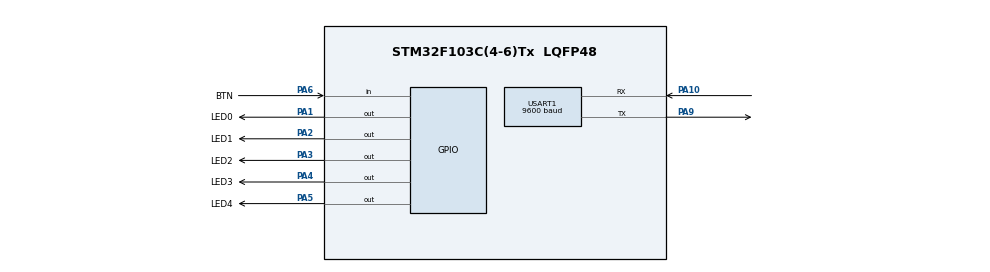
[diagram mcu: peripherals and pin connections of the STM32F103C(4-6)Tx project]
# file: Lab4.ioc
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IWDG.Prescaler=IWDG_PRESCALER_32
IWDG.Reload=63
Mcu.Family=STM32F1
Mcu.Name=STM32F103C(4-6)Tx
Mcu.Package=LQFP48
NVIC.PriorityGroup=NVIC_PRIORITYGROUP_4
NVIC.TIM2_IRQn=true\:0\:0\:false\:false\:true\:true\:true\:true
NVIC.USART1_IRQn=true\:0\:0\:false\:false\:true\:true\:true\:true
PA1.GPIO_Label=LED0
PA1.Signal=GPIO_Output
PA10.Mode=Asynchronous
PA10.Signal=USART1_RX
PA2.GPIO_Label=LED1
PA2.Signal=GPIO_Output
PA3.GPIO_Label=LED2
PA3.Signal=GPIO_Output
PA4.GPIO_Label=LED3
PA4.Signal=GPIO_Output
PA5.GPIO_Label=LED4
PA5.Signal=GPIO_Output
PA6.GPIO_Label=BTN
PA6.GPIO_PuPd=GPIO_PULLUP
PA6.Signal=GPIO_Input
PA9.Mode=Asynchronous
PA9.Signal=USART1_TX
ProjectManager.HeapSize=0x200
ProjectManager.StackSize=0x400
ProjectManager.TargetToolchain=STM32CubeIDE
RCC.APB1Freq_Value=8000000
RCC.APB2Freq_Value=8000000
TIM2.Period=9
TIM2.Prescaler=7999
USART1.BaudRate=9600
USART1.VirtualMode=VM_ASYNC
VP_IWDG_VS_IWDG.Mode=IWDG_Activate
VP_TIM2_VS_ClockSourceINT.Mode=Internal
board=custom

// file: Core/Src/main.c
/* USER CODE BEGIN Header */
/**
  ******************************************************************************
  * @file           : main.c
  * @brief          : Main program body
  ******************************************************************************
  * @attention
  *
  * Copyright (c) 2023 STMicroelectronics.
  * All rights reserved.
  *
  * This software is licensed under terms that can be found in the LICENSE file
  * in the root directory of this software component.
  * If no LICENSE file comes with this software, it is provided AS-IS.
  *
  ******************************************************************************
  */
/* USER CODE END Header */
#include "main.h"

/* USER CODE BEGIN Includes */
#include "stdio.h"
#include "string.h"
#include "scheduler.h"
#include "input_processing.h"
#include "input_reading.h"
/* USER CODE END Includes */

IWDG_HandleTypeDef hiwdg;

TIM_HandleTypeDef htim2;

UART_HandleTypeDef huart1;

/* USER CODE BEGIN PV */
unsigned int timestamp = 0;
char *strError;
char strTimestamp[32];
uint8_t isTaskJustRun = 0;

sTask* deletedTask = NULL;
/* USER CODE END PV */

void SystemClock_Config(void);
static void MX_GPIO_Init(void);
static void MX_TIM2_Init(void);
static void MX_IWDG_Init(void);
static void MX_USART1_UART_Init(void);
/* USER CODE BEGIN PFP */
void Blinking_LED0(void);
void Blinking_LED1(void);
void Blinking_LED2(void);
void Blinking_LED3(void);
void Blinking_LED4(void);
void ReadingAndProcessingInput(void);
void deleteTaskBlinkingLED4(void);
void UART_Report_Status(uint8_t errorCode);
void UART_Report_Timestamp(void);
/* USER CODE END PFP */

int main(void)
{

  /* MCU Configuration--------------------------------------------------------*/

  /* Reset of all peripherals, Initializes the Flash interface and the Systick. */
  HAL_Init();

  /* Configure the system clock */
  SystemClock_Config();

  /* Initialize all configured peripherals */
  MX_GPIO_Init();
  MX_TIM2_Init();
  MX_IWDG_Init();
  MX_USART1_UART_Init();
  /* USER CODE BEGIN 2 */
  HAL_TIM_Base_Start_IT(&htim2);
  SCH_Init();

  Input_Reading_Init();

  //SCH_Add_Task(ReadingAndProcessingInput, 0, 10);
  SCH_Add_Task(Blinking_LED0, 10, 0);
  SCH_Add_Task(Blinking_LED1, 20, 500);
  SCH_Add_Task(Blinking_LED2, 30, 1000);
  SCH_Add_Task(Blinking_LED3, 40, 1500);
  deletedTask = SCH_Add_Task(Blinking_LED4, 50, 1000);

  /* USER CODE END 2 */

  /* Infinite loop */
  /* USER CODE BEGIN WHILE */

  while (1)
  {

	  isTaskJustRun = SCH_Dispatch_Tasks();

	  //Get error code from SCH_Report_Status()
	  //Then give code for UART_Report_Status() to transmit string error.
	  UART_Report_Status(SCH_Report_Status());

	  //Print timestamp when some task ran.
	  UART_Report_Timestamp();

	  //Go to sleep if no task need to run
	  SCH_Sleep();

    /* USER CODE END WHILE */

  }
}

void SystemClock_Config(void)
{
  RCC_OscInitTypeDef RCC_OscInitStruct = {0};
  RCC_ClkInitTypeDef RCC_ClkInitStruct = {0};

  /** Initializes the RCC Oscillators according to the specified parameters
  * in the RCC_OscInitTypeDef structure.
  */
  RCC_OscInitStruct.OscillatorType = RCC_OSCILLATORTYPE_HSI|RCC_OSCILLATORTYPE_LSI;
  RCC_OscInitStruct.HSIState = RCC_HSI_ON;
  RCC_OscInitStruct.HSICalibrationValue = RCC_HSICALIBRATION_DEFAULT;
  RCC_OscInitStruct.LSIState = RCC_LSI_ON;
  RCC_OscInitStruct.PLL.PLLState = RCC_PLL_NONE;
  if (HAL_RCC_OscConfig(&RCC_OscInitStruct) != HAL_OK)
  {
    Error_Handler();
  }

  /** Initializes the CPU, AHB and APB buses clocks
  */
  RCC_ClkInitStruct.ClockType = RCC_CLOCKTYPE_HCLK|RCC_CLOCKTYPE_SYSCLK
                              |RCC_CLOCKTYPE_PCLK1|RCC_CLOCKTYPE_PCLK2;
  RCC_ClkInitStruct.SYSCLKSource = RCC_SYSCLKSOURCE_HSI;
  RCC_ClkInitStruct.AHBCLKDivider = RCC_SYSCLK_DIV1;
  RCC_ClkInitStruct.APB1CLKDivider = RCC_HCLK_DIV1;
  RCC_ClkInitStruct.APB2CLKDivider = RCC_HCLK_DIV1;

  if (HAL_RCC_ClockConfig(&RCC_ClkInitStruct, FLASH_LATENCY_0) != HAL_OK)
  {
    Error_Handler();
  }
}

static void MX_IWDG_Init(void)
{

  hiwdg.Instance = IWDG;
  hiwdg.Init.Prescaler = IWDG_PRESCALER_32;
  hiwdg.Init.Reload = 63;
  if (HAL_IWDG_Init(&hiwdg) != HAL_OK)
  {
    Error_Handler();
  }

}

static void MX_TIM2_Init(void)
{

  TIM_ClockConfigTypeDef sClockSourceConfig = {0};
  TIM_MasterConfigTypeDef sMasterConfig = {0};

  htim2.Instance = TIM2;
  htim2.Init.Prescaler = 7999;
  htim2.Init.CounterMode = TIM_COUNTERMODE_UP;
  htim2.Init.Period = 9;
  htim2.Init.ClockDivision = TIM_CLOCKDIVISION_DIV1;
  htim2.Init.AutoReloadPreload = TIM_AUTORELOAD_PRELOAD_DISABLE;
  if (HAL_TIM_Base_Init(&htim2) != HAL_OK)
  {
    Error_Handler();
  }
  sClockSourceConfig.ClockSource = TIM_CLOCKSOURCE_INTERNAL;
  if (HAL_TIM_ConfigClockSource(&htim2, &sClockSourceConfig) != HAL_OK)
  {
    Error_Handler();
  }
  sMasterConfig.MasterOutputTrigger = TIM_TRGO_RESET;
  sMasterConfig.MasterSlaveMode = TIM_MASTERSLAVEMODE_DISABLE;
  if (HAL_TIMEx_MasterConfigSynchronization(&htim2, &sMasterConfig) != HAL_OK)
  {
    Error_Handler();
  }

}

static void MX_USART1_UART_Init(void)
{

  huart1.Instance = USART1;
  huart1.Init.BaudRate = 9600;
  huart1.Init.WordLength = UART_WORDLENGTH_8B;
  huart1.Init.StopBits = UART_STOPBITS_1;
  huart1.Init.Parity = UART_PARITY_NONE;
  huart1.Init.Mode = UART_MODE_TX_RX;
  huart1.Init.HwFlowCtl = UART_HWCONTROL_NONE;
  huart1.Init.OverSampling = UART_OVERSAMPLING_16;
  if (HAL_UART_Init(&huart1) != HAL_OK)
  {
    Error_Handler();
  }

}

static void MX_GPIO_Init(void)
{
  GPIO_InitTypeDef GPIO_InitStruct = {0};

  /* GPIO Ports Clock Enable */
  __HAL_RCC_GPIOA_CLK_ENABLE();

  /*Configure GPIO pin Output Level */
  HAL_GPIO_WritePin(GPIOA, LED0_Pin|LED1_Pin|LED2_Pin|LED3_Pin
                          |LED4_Pin, GPIO_PIN_RESET);

  /*Configure GPIO pins : LED0_Pin LED1_Pin LED2_Pin LED3_Pin
                           LED4_Pin */
  GPIO_InitStruct.Pin = LED0_Pin|LED1_Pin|LED2_Pin|LED3_Pin
                          |LED4_Pin;
  GPIO_InitStruct.Mode = GPIO_MODE_OUTPUT_PP;
  GPIO_InitStruct.Pull = GPIO_NOPULL;
  GPIO_InitStruct.Speed = GPIO_SPEED_FREQ_LOW;
  HAL_GPIO_Init(GPIOA, &GPIO_InitStruct);

  /*Configure GPIO pin : BTN_Pin */
  GPIO_InitStruct.Pin = BTN_Pin;
  GPIO_InitStruct.Mode = GPIO_MODE_INPUT;
  GPIO_InitStruct.Pull = GPIO_PULLUP;
  HAL_GPIO_Init(BTN_GPIO_Port, &GPIO_InitStruct);

}

/* USER CODE BEGIN 4 */
void HAL_TIM_PeriodElapsedCallback(TIM_HandleTypeDef * htim){
	SCH_Update();
	timestamp++;
	HAL_IWDG_Refresh(&hiwdg);
}
void Blinking_LED0(void){
	HAL_GPIO_TogglePin(GPIOA, LED0_Pin);
}
void Blinking_LED1(void){
	HAL_GPIO_TogglePin(GPIOA, LED1_Pin);
}
void Blinking_LED2(void){
	HAL_GPIO_TogglePin(GPIOA, LED2_Pin);
}
void Blinking_LED3(void){
	HAL_GPIO_TogglePin(GPIOA, LED3_Pin);
}
void Blinking_LED4(void){
	HAL_GPIO_TogglePin(GPIOA, LED4_Pin);
}
void ReadingAndProcessingInput(void){
	ButtonReading(BTN);

	FSM_ForInputProcessing(deleteTaskBlinkingLED4, BTN);
}
void deleteTaskBlinkingLED4(void){
	SCH_Delete_Task(deletedTask);
}
void UART_Report_Status(uint8_t errorCode){
	switch(errorCode){
	case NO_ERROR:
		strError = "";
		break;
	case ERROR_SCH_TOO_MANY_TASKS:
		strError = "ERROR: Too many tasks\r\n";
		break;
	case ERROR_SCH_DELETE_NULL_TASK:
		strError = "ERROR: Delete null task\r\n";
		break;
	default:
		strError = "ERROR: Unknown error\r\n";
	}
	if (errorCode)
		HAL_UART_Transmit(&huart1, (uint8_t*) strError, strlen(strError), 250);
}
void UART_Report_Timestamp(void){
	if (isTaskJustRun == 0) return;
	isTaskJustRun = 0;
	sprintf(strTimestamp, "%u0ms: ID=%u\r\n", timestamp, TaskIdJustRun);
	HAL_UART_Transmit(&huart1, (uint8_t*) strTimestamp, strlen(strTimestamp), 250);
}
/* USER CODE END 4 */

void Error_Handler(void)
{
  __disable_irq();
  while (1)
  {
  }
}
